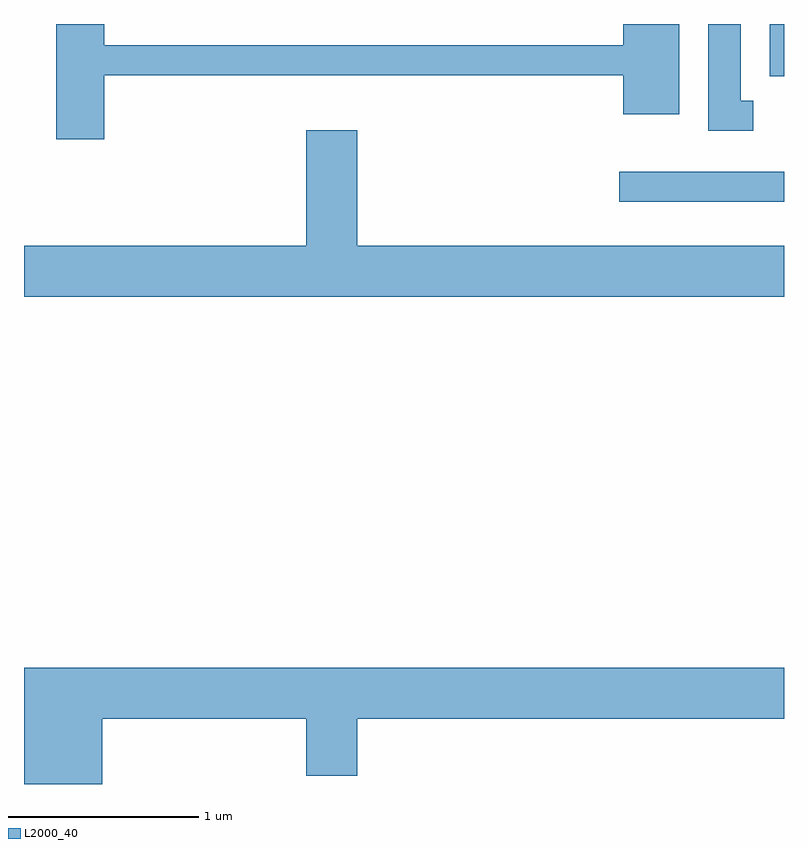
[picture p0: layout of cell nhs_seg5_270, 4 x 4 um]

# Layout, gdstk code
import gdstk
lib = gdstk.Library(unit=1e-6, precision=1e-09)
def R(c, l, rs):  # rectangles x0, y0, x1, y1
    for r in rs: c.add(gdstk.rectangle(r[:2], r[2:], *l))
def P(c, l, *ps):  # polygons
    for p in ps: c.add(gdstk.Polygon(p, *l))
L2000_40 = (2000, 40)

nhs_seg5_270 = lib.new_cell('nhs_seg5_270')
R(nhs_seg5_270, L2000_40, [(196.743,1395.136,197.611,1395.294), (197.536,1395.796,197.611,1396.072)])
P(nhs_seg5_270, L2000_40, [(194.034,1395.801),(196.766,1395.801),(196.766,1395.596),(197.059,1395.596),(197.059,1396.072),(196.766,1396.072),(196.766,1395.959),(194.034,1395.959),(194.034,1396.072),(193.781,1396.072),(193.781,1395.466),(194.034,1395.466)],
  [(197.448,1395.669),(197.384,1395.669),(197.384,1396.072),(197.211,1396.072),(197.211,1395.511),(197.448,1395.511)],
  [(197.611,1394.904),(195.364,1394.904),(195.364,1395.514),(195.096,1395.514),(195.096,1394.904),(193.611,1394.904),(193.611,1394.636),(197.611,1394.636)],
  [(194.024,1392.416),(195.096,1392.416),(195.096,1392.116),(195.364,1392.116),(195.364,1392.416),(197.611,1392.416),(197.611,1392.684),(193.611,1392.684),(193.611,1392.072),(194.024,1392.072)])

lib.write_gds('nhs_seg5_270.gds')
